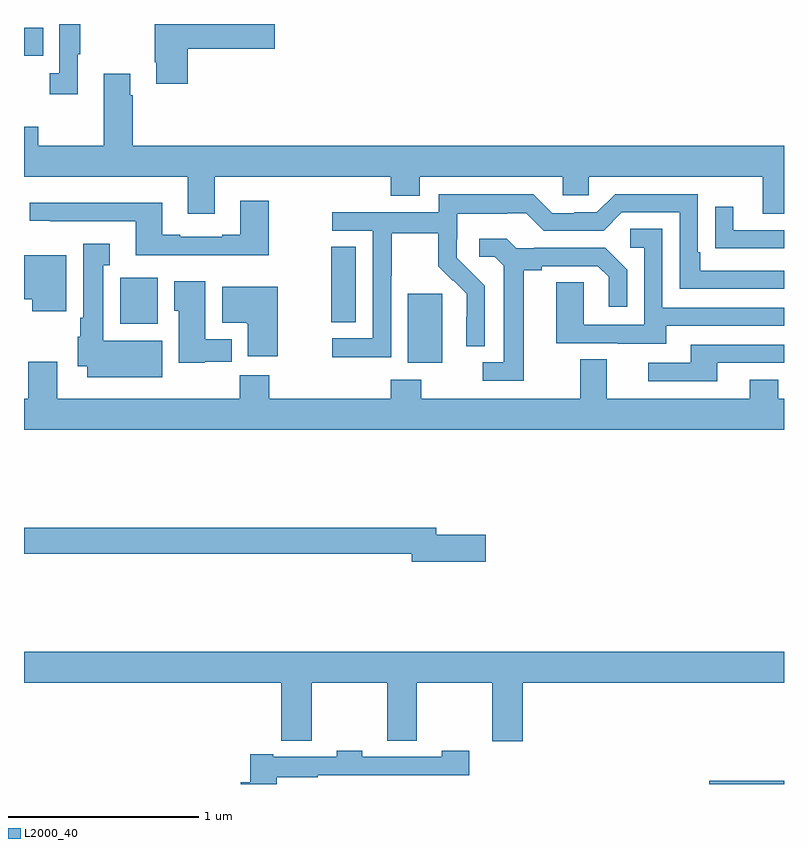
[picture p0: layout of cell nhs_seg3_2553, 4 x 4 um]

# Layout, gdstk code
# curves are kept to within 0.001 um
import gdstk
lib = gdstk.Library(unit=1e-6, precision=1e-09)
def R(c, l, rs):  # rectangles x0, y0, x1, y1
    for r in rs: c.add(gdstk.rectangle(r[:2], r[2:], *l))
def P(c, l, *ps):  # polygons
    for p in ps: c.add(gdstk.Polygon(p, *l))
L2000_40 = (2000, 40)

nhs_seg3_2553 = lib.new_cell('nhs_seg3_2553')
R(nhs_seg3_2553, L2000_40, [(246.607,684.4,247,684.416), (245.021,686.618,245.2,686.979), (243.506,686.822,243.703,687.064), (244.616,686.83,244.747,687.227), (243,688.234,243.101,688.381)])
P(nhs_seg3_2553, L2000_40, [(243.283,688.241),(243.295,688.241),(243.295,688.4),(243.186,688.4),(243.186,688.142),(243.135,688.142),(243.135,688.029),(243.283,688.029)],
  [(243.863,688.271),(244.321,688.271),(244.321,688.4),(243.688,688.4),(243.688,688.198),(243.695,688.198),(243.695,688.086),(243.863,688.086)],
  [(244.003,687.596),(244.931,687.596),(244.931,687.497),(245.083,687.497),(245.083,687.596),(245.835,687.596),(245.835,687.498),(245.973,687.498),(245.973,687.596),(246.887,687.596),(246.887,687.402),(247,687.402),(247,687.76),(243.572,687.76),(243.572,688.025),(243.559,688.025),(243.559,688.138),(243.419,688.138),(243.419,687.76),(243.075,687.76),(243.075,687.859),(243,687.859),(243,687.596),(243.863,687.596),(243.863,687.402),(244.003,687.402)],
  [(244.932,687.076),(244.935,687.076),(244.935,687.3),(245.179,687.3),(245.179,687.125),(245.256,687.048),(245.259,687.051),(245.33,686.981),(245.33,686.858),(245.328,686.858),(245.328,686.704),(245.424,686.704),(245.424,687.022),(245.278,687.17),(245.278,687.267),(245.28,687.267),(245.28,687.401),(245.543,687.401),(245.543,687.405),(245.643,687.405),(245.736,687.312),(246.051,687.312),(246.147,687.408),(246.45,687.408),(246.45,687.006),(247,687.006),(247,687.102),(246.559,687.102),(246.559,687.199),(246.546,687.199),(246.546,687.504),(246.111,687.504),(246.015,687.408),(245.897,687.408),(245.897,687.405),(245.781,687.405),(245.681,687.505),(245.184,687.505),(245.184,687.408),(244.623,687.408),(244.623,687.312),(244.836,687.312),(244.836,686.745),(244.623,686.745),(244.623,686.647),(244.932,686.647)],
  [(244.287,687.469),(244.139,687.469),(244.139,687.292),(244.043,687.292),(244.043,687.279),(243.823,687.279),(243.823,687.292),(243.727,687.292),(243.727,687.46),(243.03,687.46),(243.03,687.365),(243.139,687.365),(243.139,687.363),(243.587,687.363),(243.587,687.182),(244.287,687.182)],
  [(247,687.315),(246.733,687.315),(246.733,687.439),(246.637,687.439),(246.637,687.22),(246.739,687.22),(246.739,687.219),(247,687.219)],
  [(246.379,686.811),(247,686.811),(247,686.907),(246.36,686.907),(246.36,687.323),(246.192,687.323),(246.192,687.222),(246.264,687.222),(246.264,686.817),(245.946,686.817),(245.946,687.041),(245.801,687.041),(245.801,686.721),(246.125,686.721),(246.125,686.717),(246.379,686.717)],
  [(245.629,687.104),(245.725,687.104),(245.725,687.126),(246.02,687.126),(246.077,687.069),(246.077,686.913),(246.174,686.913),(246.174,687.106),(246.058,687.222),(245.686,687.222),(245.686,687.219),(245.592,687.219),(245.54,687.271),(245.397,687.271),(245.397,687.174),(245.478,687.174),(245.525,687.127),(245.525,686.619),(245.415,686.619),(245.415,686.523),(245.629,686.523)],
  [(243.727,686.734),(243.418,686.734),(243.418,687.131),(243.451,687.131),(243.451,687.244),(243.311,687.244),(243.311,686.854),(243.296,686.854),(243.296,686.754),(243.284,686.754),(243.284,686.6),(243.332,686.6),(243.332,686.54),(243.727,686.54)],
  [(243.223,687.184),(243,687.184),(243,686.951),(243.044,686.951),(243.044,686.888),(243.223,686.888)],
  [(243.951,686.622),(244.093,686.622),(244.093,686.74),(243.955,686.74),(243.955,687.046),(243.791,687.046),(243.791,686.892),(243.815,686.892),(243.815,686.618),(243.951,686.618)],
  [(244.336,687.016),(244.043,687.016),(244.043,686.828),(244.172,686.828),(244.172,686.822),(244.178,686.822),(244.178,686.652),(244.336,686.652)],
  [(246.649,686.616),(247,686.616),(247,686.712),(246.509,686.712),(246.509,686.616),(246.285,686.616),(246.285,686.52),(246.649,686.52)],
  [(247,686.428),(246.969,686.428),(246.969,686.527),(246.821,686.527),(246.821,686.428),(246.067,686.428),(246.067,686.636),(245.927,686.636),(245.927,686.428),(245.091,686.428),(245.091,686.527),(244.931,686.527),(244.931,686.428),(244.292,686.428),(244.292,686.552),(244.135,686.552),(244.135,686.428),(243.175,686.428),(243.175,686.623),(243.023,686.623),(243.023,686.428),(243,686.428),(243,686.264),(247,686.264)],
  [(245.431,685.712),(245.17,685.712),(245.17,685.748),(243,685.748),(243,685.612),(245.042,685.612),(245.042,685.57),(245.431,685.57)],
  [(245.624,684.932),(247,684.932),(247,685.096),(243,685.096),(243,684.932),(244.355,684.932),(244.355,684.628),(244.514,684.628),(244.514,684.932),(244.912,684.932),(244.912,684.628),(245.066,684.628),(245.066,684.932),(245.464,684.932),(245.464,684.624),(245.624,684.624)],
  [(244.33,684.435),(244.547,684.435),(244.547,684.447),(245.344,684.447),(245.344,684.576),(245.199,684.576),(245.199,684.543),(244.779,684.543),(244.779,684.576),(244.647,684.576),(244.647,684.543),(244.312,684.543),(244.312,684.556),(244.191,684.556),(244.191,684.409),(244.142,684.409),(244.142,684.4),(244.33,684.4)])

lib.write_gds('nhs_seg3_2553.gds')
